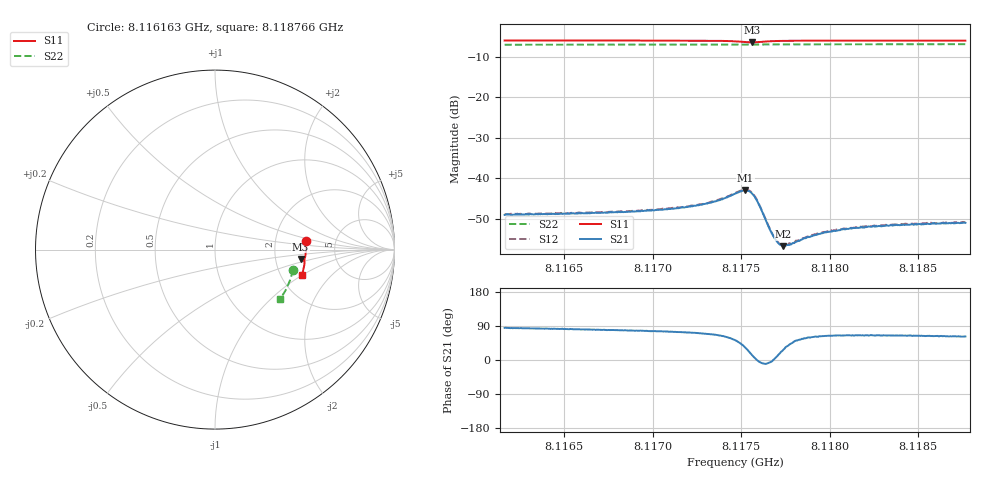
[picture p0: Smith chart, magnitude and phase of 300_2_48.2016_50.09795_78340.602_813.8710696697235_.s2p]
#  HZ  S  RI  R  50.00
! Rohde & Schwarz Vector Network Analyzer
! Rohde-Schwarz,ZNB20-2Port,1311601062101988,3.16
! Created: UTC 3/20/2024, 11:49:32 AM
! freq[Hz]  re:S11  im:S11  re:S21  im:S21  re:S12  im:S12  re:S22  im:S22
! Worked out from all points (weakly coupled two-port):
!   401 points, 8.116163 GHz to 8.118766 GHz, reference 50 ohm
!   highest |S21| = -43.01 dB at 8.117523 GHz (marker M1); lowest = -56.8 dB at 8.117738 GHz (marker M2)
!   lowest |S11| = -6.4 dB at 8.117562 GHz (marker M3), VSWR 2.84, Z = 139 - j18.8 ohm
!   |S11| at or under -10 dB: nowhere
!   |S22| runs from -7.0 to -6.8 dB; largest |S21 - S12| = 0.00019
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8.1161631e9  0.5051 0.0459  0.000318 0.00349  0.000389 0.00359  0.4346 -0.1125
8.116599e9  0.5064 0.013  0.000589 0.00363  0.000616 0.00366  0.4271 -0.142
8.117035e9  0.5051 -0.0208  0.000983 0.00394  0.00106 0.00398  0.4177 -0.1708
8.1171847e9  0.5037 -0.0333  0.00128 0.00419  0.00137 0.00424  0.4139 -0.1805
8.1173018e9  0.5016 -0.0437  0.00174 0.00452  0.00176 0.00457  0.4107 -0.1884
8.1173864e9  0.4983 -0.0522  0.0024 0.00489  0.00249 0.00498  0.4084 -0.1938
8.1174645e9  0.4911 -0.0598  0.00391 0.0051  0.00405 0.00513  0.4059 -0.1988
8.1175231e9  0.4805 -0.0596  0.00596 0.00381  0.0061 0.00381  0.4038 -0.2022
8.1175426e9  0.4778 -0.0563  0.00639 0.00266  0.00652 0.00267  0.4033 -0.2032
8.1175621e9  0.477 -0.0518  0.00626 0.00137  0.00638 0.00135  0.4028 -0.2041
8.1175816e9  0.4792 -0.0475  0.00559 0.000271  0.00575 0.000197  0.4025 -0.2052
8.1175947e9  0.4817 -0.0459  0.00496 -0.00021  0.00508 -0.000261  0.4021 -0.206
8.1176597e9  0.4931 -0.0486  0.00233 -0.000274  0.0024 -0.000297  0.4008 -0.2099
8.1176793e9  0.495 -0.0509  0.00194 -1.65e-05  0.00197 -3e-05  0.4003 -0.2114
8.1177118e9  0.4971 -0.0549  0.0015 0.000395  0.00151 0.000397  0.3993 -0.2135
8.1177378e9  0.498 -0.058  0.00128 0.000657  0.00132 0.000655  0.3986 -0.2152
8.1177899e9  0.4988 -0.0636  0.0011 0.00112  0.0011 0.00111  0.3969 -0.2185
8.1179005e9  0.4987 -0.0742  0.000942 0.00167  0.00101 0.0017  0.3933 -0.2257
8.1179786e9  0.498 -0.0809  0.000949 0.00191  0.000988 0.00192  0.3909 -0.2305
8.1180762e9  0.4967 -0.089  0.001 0.00211  0.00103 0.00215  0.3877 -0.2366
8.1183365e9  0.4928 -0.1089  0.0011 0.00233  0.00114 0.00236  0.3785 -0.2523
8.118766e9  0.4846 -0.1405  0.0013 0.00247  0.00136 0.00253  0.362 -0.2775
